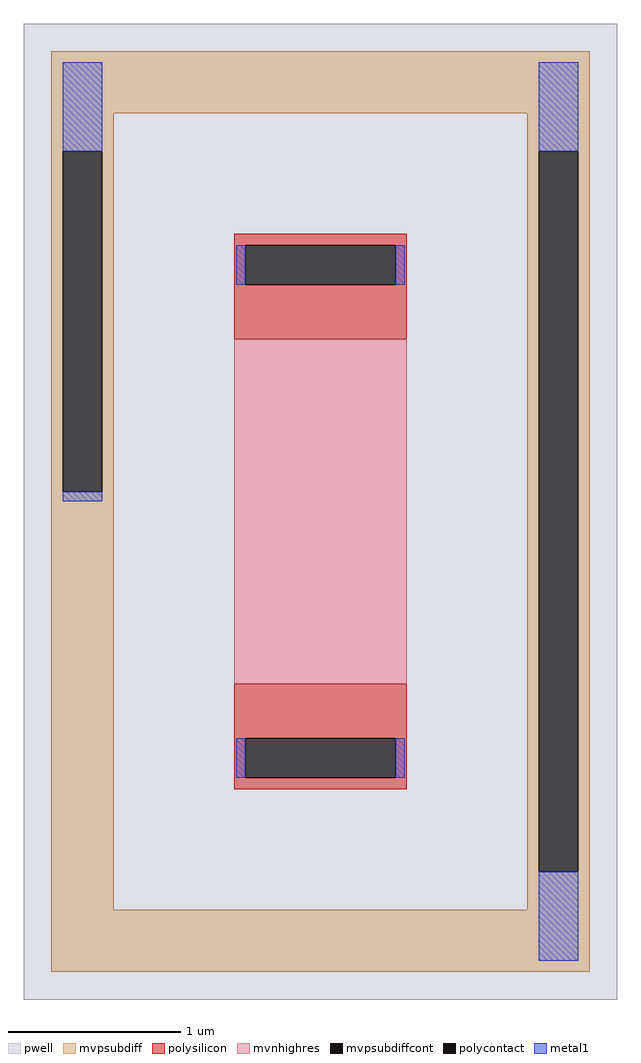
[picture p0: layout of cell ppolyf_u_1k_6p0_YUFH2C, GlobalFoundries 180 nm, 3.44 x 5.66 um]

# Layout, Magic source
magic
tech gf180mcuD
magscale 1 10
<< pwell >>
rect -344 -566 344 566
<< mvpsubdiff >>
rect -312 462 312 534
rect -312 418 -240 462
rect -312 23 -299 418
rect -253 23 -240 418
rect 240 418 312 462
rect -312 -462 -240 23
rect 240 -418 253 418
rect 299 -418 312 418
rect 240 -462 312 -418
rect -312 -534 312 -462
<< mvpsubdiffcont >>
rect -299 23 -253 418
rect 253 -418 299 418
<< polysilicon >>
rect -100 309 100 322
rect -100 263 -87 309
rect 87 263 100 309
rect -100 200 100 263
rect -100 -263 100 -200
rect -100 -309 -87 -263
rect 87 -309 100 -263
rect -100 -322 100 -309
<< polycontact >>
rect -87 263 87 309
rect -87 -309 87 -263
<< mvnhighres >>
rect -100 -200 100 200
<< metal1 >>
rect -299 418 -253 521
rect 253 418 299 521
rect -98 263 -87 309
rect 87 263 98 309
rect -299 12 -253 23
rect -98 -309 -87 -263
rect 87 -309 98 -263
rect 253 -521 299 -418
<< properties >>
string FIXED_BBOX -276 -498 276 498
string gencell ppolyf_u_1k_6p0
string library gf180mcu
string parameters w 1.0 l 2.0 m 1 nx 1 wmin 1.000 lmin 1.000 class resistor rho 1000 val 2.0k dummy 0 dw 0.0 term 0.0 sterm 0.0 caplen 0.4 snake 0 glc 1 grc 1 gtc 0 gbc 0 roverlap 0 endcov 100 full_metal 1 compatible {ppolyf_u_1k ppolyf_u_1k_6p0}
<< end >>
